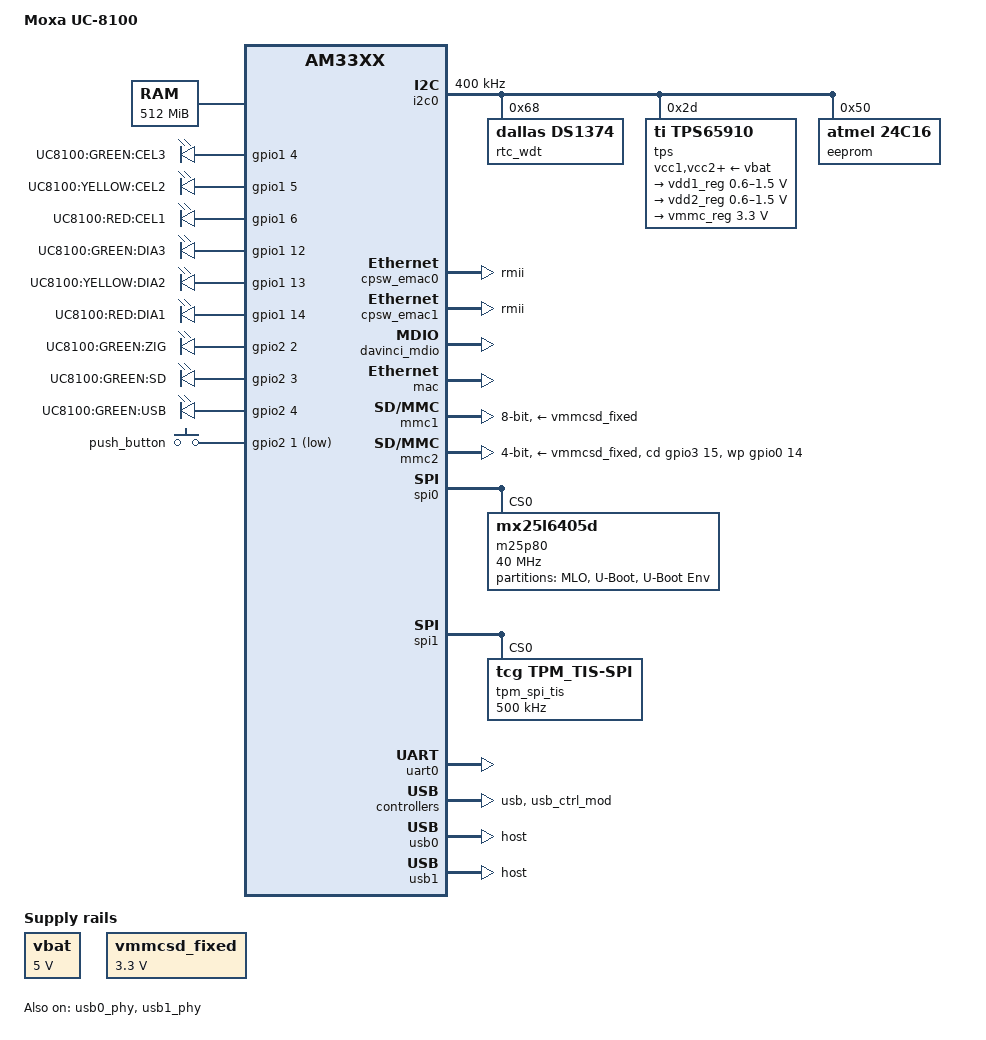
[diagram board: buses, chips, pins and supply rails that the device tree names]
// SPDX-License-Identifier: GPL-2.0
/*
 * Copyright (C) 2018 MOXA Inc. - https://www.moxa.com/
 *
 * Authors: SZ Lin (林上智) <sz.lin@moxa.com>
 *          Wes Huang (黃淵河) <wes.huang@moxa.com>
 *          Ken CJ Chou <KenCJ.Chou@moxa.com>
 */

/dts-v1/;

#include <dt-bindings/input/input.h>
#include "am33xx.dtsi"

/ {
	model = "Moxa UC-8100";
	compatible = "ti,moxa-uc8100", "ti,am33xx";

	cpus {
		cpu@0 {
			cpu0-supply = <&vdd1_reg>;
		};
	};

	cpu0_opp_table: opp_table0 {
		opp50@300000000 {
			status = "okay";
		};

		opp100@275000000 {
			status = "disabled";
		};

		opp100@300000000 {
			status = "disabled";
		};

		opp100@500000000 {
			status = "disabled";
		};

		opp100@600000000 {
			status = "okay";
		};

		opp120@600000000 {
			status = "disabled";
		};

		opp120@720000000 {
			status = "okay";
		};

		oppturbo@720000000 {
			status = "disabled";
		};

		oppturbo@800000000 {
			status = "disabled";
		};

		oppnitro@1000000000 {
			status = "okay";
		};
	};

	memory {
		device_type = "memory";
		reg = <0x80000000 0x20000000>; /* 512 MB */
	};

	vbat: fixedregulator@0 {
		compatible = "regulator-fixed";
	};

	/* Power supply provides a fixed 3.3V @3A */
	vmmcsd_fixed: fixedregulator@1 {
		compatible = "regulator-fixed";
		regulator-name = "vmmcsd_fixed";
		regulator-min-microvolt = <3300000>;
		regulator-max-microvolt = <3300000>;
		regulator-boot-on;
	};

	leds: user_leds {
		compatible = "gpio-leds";
	};

	buttons: user_buttons {
		compatible = "gpio-keys";
	};
};

/* I2C Busses */
&i2c0 {
	pinctrl-names = "default";
	pinctrl-0 = <&i2c0_pins>;

	status = "okay";
	clock-frequency = <400000>;

	rtc_wdt: rtc_wdt@68 {
		compatible = "dallas,ds1374";
		reg = <0x68>;
	};

	tps: tps@2d {
		compatible = "ti,tps65910";
		reg = <0x2d>;
	};

	eeprom: eeprom@50 {
		compatible = "atmel,24c16";
		pagesize = <16>;
		reg = <0x50>;
	};
};

&am33xx_pinmux {
	i2c0_pins: pinmux_i2c0_pins {
		pinctrl-single,pins = <
			AM33XX_IOPAD(0x988 ,PIN_INPUT_PULLUP | MUX_MODE0) /* i2c0_sda */
			AM33XX_IOPAD(0x98c ,PIN_INPUT_PULLUP | MUX_MODE0) /* i2c0_scl */
		>;
	};
};

/* Ethernet */
&cpsw_emac0 {
	status = "okay";
	phy_id = <&davinci_mdio>, <4>;
	phy-mode = "rmii";
	dual_emac_res_vlan = <1>;
};

&cpsw_emac1 {
	status = "okay";
	phy_id = <&davinci_mdio>, <5>;
	phy-mode = "rmii";
	dual_emac_res_vlan = <2>;
};

&davinci_mdio {
	pinctrl-names = "default";
	pinctrl-0 = <&davinci_mdio_default>;
	status = "okay";
};

&mac {
	pinctrl-names = "default";
	pinctrl-0 = <&cpsw_default>;
	dual_emac = <1>;
	status = "okay";
};

&phy_sel {
	reg= <0x44e10650 0xf5>;
	rmii-clock-ext;
};

&am33xx_pinmux {
	cpsw_default: cpsw_default {
		pinctrl-single,pins = <
			/* Slave 1 */
			AM33XX_IOPAD(0x90c, PIN_INPUT_PULLDOWN | MUX_MODE1)  /* mii1_crs.RMII1_CRS_DV*/
			AM33XX_IOPAD(0x910, PIN_INPUT_PULLUP | MUX_MODE1)    /* mii1_rxerr.rmii1_rxerr */
			AM33XX_IOPAD(0x914, PIN_OUTPUT_PULLDOWN | MUX_MODE1) /* mii1_txen.rmii1_txen */
			AM33XX_IOPAD(0x924, PIN_OUTPUT_PULLDOWN | MUX_MODE1) /* mii1_txd1.rmii1_txd1 */
			AM33XX_IOPAD(0x928, PIN_OUTPUT_PULLDOWN | MUX_MODE1) /* mii1_txd0.rmii1_txd0 */
			AM33XX_IOPAD(0x93c, PIN_INPUT_PULLUP | MUX_MODE1)    /* mii1_rxd1.mii1_rxd1 */
			AM33XX_IOPAD(0x940, PIN_INPUT_PULLUP | MUX_MODE1)    /* mii1_rxd0.mii1_rxd0 */
			AM33XX_IOPAD(0x944, PIN_INPUT_PULLDOWN | MUX_MODE0)  /* mii1_refclk */

			/* Slave 2 */
			AM33XX_IOPAD(0x870, PIN_INPUT_PULLDOWN | MUX_MODE3)  /* gpmc_wait0.RMII2_CRS_DV*/
			AM33XX_IOPAD(0x874, PIN_INPUT_PULLDOWN | MUX_MODE3)  /* gpmc_wpn.mii2_rxerr */
			AM33XX_IOPAD(0x840, PIN_OUTPUT_PULLDOWN | MUX_MODE3) /* gpmc_a0.mii2_txen */
			AM33XX_IOPAD(0x850, PIN_OUTPUT_PULLDOWN | MUX_MODE3) /* gpmc_a4.mii2_txd1 */
			AM33XX_IOPAD(0x854, PIN_OUTPUT_PULLDOWN | MUX_MODE3) /* gpmc_a5.mii2_txd0 */
			AM33XX_IOPAD(0x868, PIN_INPUT_PULLDOWN | MUX_MODE3)  /* gpmc_a10.mii2_rxd1 */
			AM33XX_IOPAD(0x86c, PIN_INPUT_PULLDOWN | MUX_MODE3)  /* gpmc_a11.mii2_rxd0 */
			AM33XX_IOPAD(0x908, PIN_INPUT_PULLDOWN | MUX_MODE1)  /* mii1_col.RMII2_REFCLK*/
		>;
	};

	davinci_mdio_default: davinci_mdio_default {
		pinctrl-single,pins = <
			/* MDIO */
			AM33XX_IOPAD(0x948 ,PIN_INPUT_PULLUP | SLEWCTRL_FAST | MUX_MODE0)	/* mdio_data.mdio_data */
			AM33XX_IOPAD(0x94c ,PIN_OUTPUT_PULLUP | MUX_MODE0)					/* mdio_clk.mdio_clk */
		>;
	};
};

/* MMC */
&mmc1 {
	pinctrl-names = "default";
	vmmc-supply = <&vmmcsd_fixed>;
	bus-width = <8>;
	pinctrl-0 = <&mmc0_pins_default>;
	ti,non-removable;
	status = "okay";
};

&mmc2 {
	pinctrl-names = "default";
	vmmc-supply = <&vmmcsd_fixed>;
	bus-width = <4>;
	pinctrl-0 = <&mmc1_pins_default>;
	cd-gpios = <&gpio3 15 GPIO_ACTIVE_HIGH>;
	wp-gpios = <&gpio0 14 GPIO_ACTIVE_HIGH>;
	status = "okay";
};

&am33xx_pinmux {
	mmc0_pins_default: pinmux_mmc0_pins {
		pinctrl-single,pins = <
			AM33XX_IOPAD(0x8f0 ,PIN_INPUT_PULLUP | MUX_MODE0) /* mmc0_dat3 */
			AM33XX_IOPAD(0x8f4 ,PIN_INPUT_PULLUP | MUX_MODE0) /* mmc0_dat2 */
			AM33XX_IOPAD(0x8f8 ,PIN_INPUT_PULLUP | MUX_MODE0) /* mmc0_dat1 */
			AM33XX_IOPAD(0x8fc ,PIN_INPUT_PULLUP | MUX_MODE0) /* mmc0_dat0 */
			AM33XX_IOPAD(0x900 ,PIN_INPUT_PULLUP | MUX_MODE0) /* mmc0_clk */
			AM33XX_IOPAD(0x904 ,PIN_INPUT_PULLUP | MUX_MODE0) /* mmc0_cmd */
			AM33XX_IOPAD(0x92C, PIN_INPUT_PULLUP | MUX_MODE3) /* mmi1_tx_clk.mmc0_data7 */
			AM33XX_IOPAD(0x938, PIN_INPUT_PULLUP | MUX_MODE3) /* mii1_rxd2.mmc_data4 */
			AM33XX_IOPAD(0x934, PIN_INPUT_PULLUP | MUX_MODE3) /* mii1_rxd3.mmc_data5 */
			AM33XX_IOPAD(0x930, PIN_INPUT_PULLUP | MUX_MODE3) /* mii_rxclk.mmc_data6 */
		>;
	};

	mmc1_pins_default: pinmux_mmc1_pins {
		pinctrl-single,pins = <
			AM33XX_IOPAD(0x880 ,PIN_INPUT_PULLUP | MUX_MODE2) /* gpmc_csn1.mmc1_clk */
			AM33XX_IOPAD(0x884 ,PIN_INPUT_PULLUP | MUX_MODE2) /* gpmc_csn2.mmc1_cmd */
			AM33XX_IOPAD(0x800 ,PIN_INPUT_PULLUP | MUX_MODE1) /* gpmc_ad0.mmc1_dat0 */
			AM33XX_IOPAD(0x804 ,PIN_INPUT_PULLUP | MUX_MODE1) /* gpmc_ad1.mmc1_dat1 */
			AM33XX_IOPAD(0x808 ,PIN_INPUT_PULLUP | MUX_MODE1) /* gpmc_ad2.mmc1_dat2 */
			AM33XX_IOPAD(0x80c ,PIN_INPUT_PULLUP | MUX_MODE1) /* gpmc_ad3.mmc1_dat3 */
			AM33XX_IOPAD(0x980 ,PIN_INPUT_PULLUP | MUX_MODE7) /* uart1_rxd.gpio0_14 (wp)*/
			AM33XX_IOPAD(0x994 ,PIN_INPUT_PULLUP | MUX_MODE7) /* mcasp0_fsx.gpio3_15 (cd)*/
		>;
	};
};

/* Power */
&vbat {
	regulator-name = "vbat";
	regulator-min-microvolt = <5000000>;
	regulator-max-microvolt = <5000000>;
};

#include "tps65910.dtsi"
&tps {
	vcc1-supply = <&vbat>;
	vcc2-supply = <&vbat>;
	vcc3-supply = <&vbat>;
	vcc4-supply = <&vbat>;
	vcc5-supply = <&vbat>;
	vcc6-supply = <&vbat>;
	vcc7-supply = <&vbat>;
	vccio-supply = <&vbat>;

	regulators {
		vrtc_reg: regulator@0 {
			regulator-always-on;
		};

		vio_reg: regulator@1 {
			regulator-always-on;
		};

		vdd1_reg: regulator@2 {
			/* VDD_MPU voltage limits 0.95V - 1.26V with +/-4% tolerance */
			regulator-name = "vdd_mpu";
			regulator-min-microvolt = <600000>;
			regulator-max-microvolt = <1500000>;
			regulator-boot-on;
			regulator-always-on;
		};

		vdd2_reg: regulator@3 {
			/* VDD_CORE voltage limits 0.95V - 1.1V with +/-4% tolerance */
			regulator-name = "vdd_core";
			regulator-min-microvolt = <600000>;
			regulator-max-microvolt = <1500000>;
			regulator-boot-on;
			regulator-always-on;
		};

		vdd3_reg: regulator@4 {
			regulator-always-on;
		};

		vdig1_reg: regulator@5 {
			regulator-always-on;
		};

		vdig2_reg: regulator@6 {
			regulator-always-on;
		};

		vpll_reg: regulator@7 {
			regulator-always-on;
		};

		vdac_reg: regulator@8 {
			regulator-always-on;
		};

		vaux1_reg: regulator@9 {
			regulator-always-on;
		};

		vaux2_reg: regulator@10 {
			regulator-always-on;
		};

		vaux33_reg: regulator@11 {
			regulator-always-on;
		};

		vmmc_reg: regulator@12 {
			compatible = "regulator-fixed";
			regulator-name = "vmmc_reg";
			regulator-min-microvolt = <3300000>;
			regulator-max-microvolt = <3300000>;
			regulator-always-on;
		};
	};
};

/* SPI Busses */
&spi0 {
	status = "okay";
	pinctrl-names = "default";
	pinctrl-0 = <&spi0_pins>;

	m25p80@0 {
		compatible = "mx25l6405d";
		spi-max-frequency = <40000000>;

		reg = <0>;
		spi-cpol;
		spi-cpha;

		partitions {
			compatible = "fixed-partitions";
			#address-cells = <1>;
			#size-cells = <1>;

			/* reg : The partition's offset and size within the mtd bank. */
			partitions@0 {
				label = "MLO";
				reg = <0x0 0x80000>;
			};

			partitions@1 {
				label = "U-Boot";
				reg = <0x80000 0x100000>;
			};

			partitions@2 {
				label = "U-Boot Env";
				reg = <0x180000 0x40000>;
			};
		};
	};
};

&spi1{
	status = "okay";
	pinctrl-names = "default";
	pinctrl-0 = <&spi1_pins>;
	tpm_spi_tis@0{
		compatible = "tcg,tpm_tis-spi";
		pinctrl-0 = <&tpm_pins>;
		reg = <0>;
		spi-max-frequency = <500000>;
	};
};

&am33xx_pinmux {
	spi0_pins: pinmux_spi0 {
		pinctrl-single,pins = <
			AM33XX_IOPAD(0x950, PIN_INPUT_PULLUP | MUX_MODE0) /* spi0_sclk */
			AM33XX_IOPAD(0x95c, PIN_INPUT_PULLUP | MUX_MODE0) /* spi0_cs0 */
			AM33XX_IOPAD(0x954, PIN_INPUT_PULLUP | MUX_MODE0) /* spi0_d0 */
			AM33XX_IOPAD(0x958, PIN_INPUT_PULLUP | MUX_MODE0) /* spi0_d1 */
		>;
	};

	spi1_pins: pinmux_spi1 {
		pinctrl-single,pins = <
			AM33XX_IOPAD(0x964, PIN_INPUT_PULLUP | MUX_MODE4) /* ecap0_in_pwm0_out.spi1_sclk */
			AM33XX_IOPAD(0x978, PIN_INPUT_PULLUP | MUX_MODE4) /* uart1_ctsn.spi1_cs0 */
			AM33XX_IOPAD(0x968, PIN_INPUT_PULLUP | MUX_MODE4) /* uart0_ctsn.spi1_d0 */
			AM33XX_IOPAD(0x96c, PIN_INPUT_PULLUP | MUX_MODE4) /* uart0_rtsn.spi1_d1 */
		>;
	};

	tpm_pins: pinmux_tpm {
		pinctrl-single,pins = <
			AM33XX_IOPAD(0x8d0, PIN_OUTPUT_PULLUP | MUX_MODE7)	/* lcd_data12.gpio0_8 */
			AM33XX_IOPAD(0x998, PIN_INPUT_PULLDOWN | MUX_MODE7)	/* mcasp0_axr0.gpio3_16 */
			AM33XX_IOPAD(0x99c, PIN_OUTPUT_PULLUP | MUX_MODE7)	/* mcasp0_ahclkr.gpio3_17 */
		>;
	};
};

/* GPIO */
&gpio0 {
	ti,no-reset-on-init;
};

/* UARTs */
&uart0 {
	/* Serial Console */
	pinctrl-names = "default";
	pinctrl-0 = <&uart0_pins>;
	status = "okay";
};

&am33xx_pinmux {
	uart0_pins: pinmux_uart0_pins {
		pinctrl-single,pins = <
			AM33XX_IOPAD(0x970 ,PIN_INPUT_PULLUP | MUX_MODE0)    /* uart0_rxd */
			AM33XX_IOPAD(0x974 ,PIN_OUTPUT_PULLDOWN | MUX_MODE0) /* uart0_txd */
		>;
	};
};

/* USB */
&usb {
	status = "okay";
};

&usb_ctrl_mod {
	status = "okay";
};

&usb0_phy {
	status = "okay";
};

&usb1_phy {
	status = "okay";
};

&usb0 {
	status = "okay";
	dr_mode = "host";
};

&usb1 {
	status = "okay";
	dr_mode = "host";
};

&cppi41dma  {
	status = "okay";
};

/* MiniPCIe Slot */
&am33xx_pinmux {
	minipcie_pins: pinmux_minipcie {
		pinctrl-single,pins = <
			AM33XX_IOPAD(0x8e0 ,PIN_OUTPUT_PULLUP | MUX_MODE7) /* lcd_vsync.gpio2_22 */
			AM33XX_IOPAD(0x8e4 ,PIN_INPUT_PULLUP | MUX_MODE7)  /* lcd_hsync.gpio2_23 */
			AM33XX_IOPAD(0x8e8 ,PIN_OUTPUT_PULLUP | MUX_MODE7) /* lcd_pclk.gpio2_24 */
			AM33XX_IOPAD(0x8ec ,PIN_OUTPUT_PULLUP | MUX_MODE7) /* lcd_ac_bias_en.gpio2_25 */
		>;
	};
};

/* LEDs */
&leds {
	pinctrl-names = "default";
	pinctrl-0 = <&user_leds_pins>;

	led@1 {
		label = "UC8100:GREEN:CEL3";
		gpios = <&gpio1 4 GPIO_ACTIVE_HIGH>;
		default-state = "off";
	};

	led@2 {
		label = "UC8100:YELLOW:CEL2";
		gpios = <&gpio1 5 GPIO_ACTIVE_HIGH>;
		default-state = "off";
	};

	led@3 {
		label = "UC8100:RED:CEL1";
		gpios = <&gpio1 6 GPIO_ACTIVE_HIGH>;
		default-state = "off";
	};

	led@4 {
		label = "UC8100:GREEN:DIA3";
		gpios = <&gpio1 12 GPIO_ACTIVE_HIGH>;
		default-state = "off";
	};

	led@5 {
		label = "UC8100:YELLOW:DIA2";
		gpios = <&gpio1 13 GPIO_ACTIVE_HIGH>;
		default-state = "off";
	};

	led@6 {
		label = "UC8100:RED:DIA1";
		gpios = <&gpio1 14 GPIO_ACTIVE_HIGH>;
		default-state = "off";
	};

	led@7 {
		label = "UC8100:GREEN:ZIG";
		gpios = <&gpio2 2 GPIO_ACTIVE_HIGH>;
		default-state = "off";
	};

	led@8 {
		label = "UC8100:GREEN:SD";
		gpios = <&gpio2 3 GPIO_ACTIVE_HIGH>;
		default-state = "off";
	};

	led@9 {
		label = "UC8100:GREEN:USB";
		gpios = <&gpio2 4 GPIO_ACTIVE_HIGH>;
		default-state = "off";
	};
};

&am33xx_pinmux {
	user_leds_pins: pinmux_user_leds {
		pinctrl-single,pins = <
			AM33XX_IOPAD(0x810 ,PIN_OUTPUT | MUX_MODE7) /* gpmc_ad4.gpio1_4 */
			AM33XX_IOPAD(0x814 ,PIN_OUTPUT | MUX_MODE7) /* gpmc_ad5.gpio1_5 */
			AM33XX_IOPAD(0x818 ,PIN_OUTPUT | MUX_MODE7) /* gpmc_ad6.gpio1_6 */
			AM33XX_IOPAD(0x830 ,PIN_OUTPUT | MUX_MODE7) /* gpmc_ad12.gpio1_12 */
			AM33XX_IOPAD(0x834 ,PIN_OUTPUT | MUX_MODE7) /* gpmc_ad13.gpio1_13 */
			AM33XX_IOPAD(0x838 ,PIN_OUTPUT | MUX_MODE7) /* gpmc_ad14.gpio1_14 */
			AM33XX_IOPAD(0x890 ,PIN_OUTPUT | MUX_MODE7) /* gpmc_advn_ale.gpio2_2 */
			AM33XX_IOPAD(0x894 ,PIN_OUTPUT | MUX_MODE7) /* gpmc_oen_ren.gpio2_3 */
			AM33XX_IOPAD(0x898 ,PIN_OUTPUT | MUX_MODE7) /* gpmc_wen.gpio2_4 */
		>;
	};
};

/* Push Button */
&buttons {
	pinctrl-names = "default";
	pinctrl-0 = <&user_buttons_pins>;
	#address-cells = <1>;
	#size-cells = <0>;

	button@0 {
		label = "push_button";
		linux,code = <BTN_MISC>;
		gpios = <&gpio2 1 GPIO_ACTIVE_LOW>;
	};
};

&am33xx_pinmux {
	user_buttons_pins: pinmux_user_buttons {
		pinctrl-single,pins = <
			AM33XX_IOPAD(0x88c ,PIN_INPUT_PULLUP | MUX_MODE7) /* gpmc_clk.gpio2_1 */
		>;
	};
};
